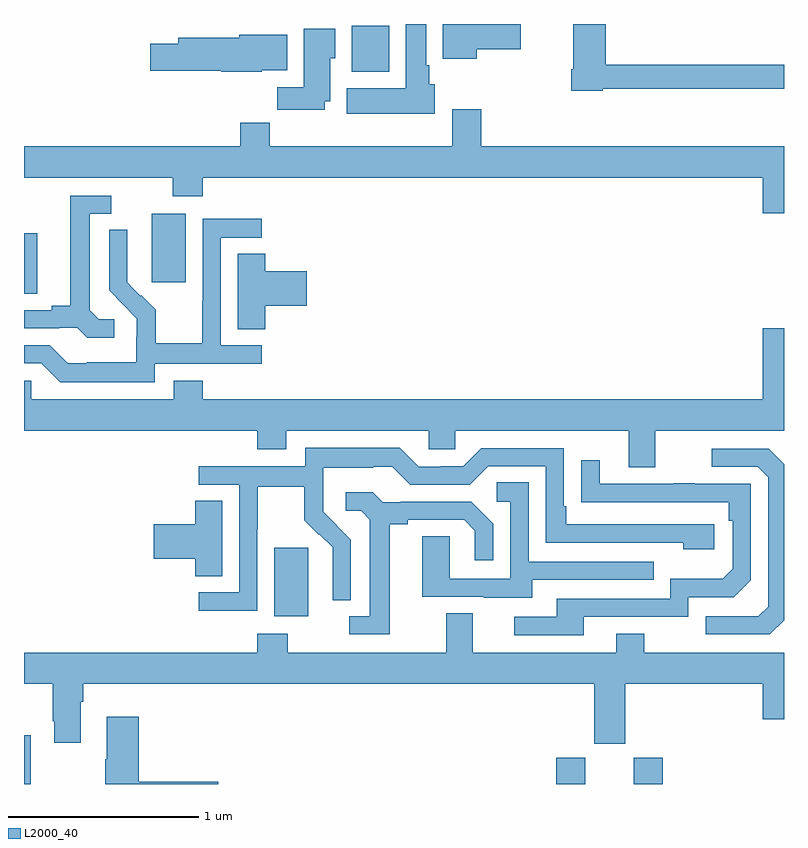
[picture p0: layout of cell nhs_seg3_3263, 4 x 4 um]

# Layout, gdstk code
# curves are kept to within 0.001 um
import gdstk
lib = gdstk.Library(unit=1e-6, precision=1e-09)
def R(c, l, rs):  # rectangles x0, y0, x1, y1
    for r in rs: c.add(gdstk.rectangle(r[:2], r[2:], *l))
def P(c, l, *ps):  # polygons
    for p in ps: c.add(gdstk.Polygon(p, *l))
L2000_40 = (2000, 40)

nhs_seg3_3263 = lib.new_cell('nhs_seg3_3263')
R(nhs_seg3_3263, L2000_40, [(281,688.4,281.035,688.657), (283.802,688.4,283.954,688.539), (284.21,688.4,284.363,688.539), (282.317,689.282,282.496,689.643), (281,690.979,281.071,691.299), (281.672,691.041,281.851,691.402), (282.725,692.15,282.922,692.392)])
P(nhs_seg3_3263, L2000_40, [(283.384,692.267),(283.615,692.267),(283.615,692.4),(283.205,692.4),(283.205,692.216),(283.384,692.216)],
  [(283.162,692.082),(283.132,692.082),(283.132,692.182),(283.117,692.182),(283.117,692.4),(283.01,692.4),(283.01,692.062),(282.698,692.062),(282.698,691.928),(283.162,691.928)],
  [(284.046,692.058),(285,692.058),(285,692.186),(284.063,692.186),(284.063,692.4),(283.892,692.4),(283.892,692.161),(283.88,692.161),(283.88,692.05),(284.046,692.05)],
  [(282.583,691.994),(282.613,691.994),(282.613,692.22),(282.637,692.22),(282.637,692.374),(282.473,692.374),(282.473,692.068),(282.334,692.068),(282.334,691.95),(282.583,691.95)],
  [(282.252,692.156),(282.385,692.156),(282.385,692.344),(282.134,692.344),(282.134,692.327),(281.813,692.327),(281.813,692.297),(281.664,692.297),(281.664,692.155),(282.038,692.155),(282.038,692.15),(282.252,692.15)],
  [(285,691.756),(283.406,691.756),(283.406,691.951),(283.253,691.951),(283.253,691.756),(282.293,691.756),(282.293,691.88),(282.137,691.88),(282.137,691.756),(281,691.756),(281,691.592),(281.782,691.592),(281.782,691.493),(281.942,691.493),(281.942,691.592),(284.888,691.592),(284.888,691.404),(285,691.404)],
  [(281.476,690.846),(281.394,690.846),(281.347,690.893),(281.347,691.401),(281.458,691.401),(281.458,691.497),(281.243,691.497),(281.243,690.917),(281.147,690.917),(281.147,690.894),(281,690.894),(281,690.798),(281.186,690.798),(281.186,690.801),(281.28,690.801),(281.332,690.749),(281.476,690.749)],
  [(281.688,690.612),(282.25,690.612),(282.25,690.708),(282.036,690.708),(282.036,691.275),(282.25,691.275),(282.25,691.374),(281.94,691.374),(281.94,690.944),(281.938,690.944),(281.938,690.721),(281.693,690.721),(281.693,690.895),(281.616,690.972),(281.613,690.969),(281.543,691.04),(281.544,691.316),(281.448,691.316),(281.448,690.998),(281.594,690.85),(281.594,690.753),(281.592,690.753),(281.592,690.619),(281.329,690.619),(281.329,690.615),(281.229,690.615),(281.136,690.708),(281,690.708),(281,690.615),(281.091,690.615),(281.191,690.515),(281.688,690.515)],
  [(282.269,690.917),(282.487,690.917),(282.487,691.1),(282.269,691.1),(282.269,691.19),(282.125,691.19),(282.125,690.793),(282.269,690.793)],
  [(282.227,690.161),(282.379,690.161),(282.379,690.26),(283.131,690.26),(283.131,690.162),(283.269,690.162),(283.269,690.26),(284.183,690.26),(284.183,690.066),(284.323,690.066),(284.323,690.26),(285,690.26),(285,690.799),(284.888,690.799),(284.888,690.424),(281.942,690.424),(281.942,690.523),(281.789,690.523),(281.789,690.424),(281.037,690.424),(281.037,690.522),(281,690.522),(281,690.26),(282.227,690.26)],
  [(282.228,689.74),(282.231,689.74),(282.231,689.964),(282.475,689.964),(282.475,689.789),(282.552,689.712),(282.555,689.715),(282.626,689.645),(282.626,689.522),(282.624,689.522),(282.624,689.368),(282.72,689.368),(282.72,689.686),(282.574,689.834),(282.574,689.931),(282.576,689.931),(282.576,690.065),(282.839,690.065),(282.839,690.069),(282.939,690.069),(283.032,689.976),(283.347,689.976),(283.443,690.072),(283.746,690.072),(283.746,689.67),(284.471,689.67),(284.471,689.636),(284.632,689.636),(284.632,689.766),(283.855,689.766),(283.855,689.863),(283.842,689.863),(283.842,690.168),(283.407,690.168),(283.311,690.072),(283.193,690.072),(283.193,690.069),(283.077,690.069),(282.977,690.169),(282.48,690.169),(282.48,690.072),(281.919,690.072),(281.919,689.976),(282.132,689.976),(282.132,689.409),(281.919,689.409),(281.919,689.311),(282.228,689.311)],
  [(285,689.262),(285,690.084),(284.919,690.165),(284.619,690.165),(284.619,690.069),(284.862,690.069),(284.916,690.015),(284.916,689.334),(284.865,689.283),(284.589,689.283),(284.589,689.187),(284.925,689.187)],
  [(283.945,689.28),(284.496,689.28),(284.496,689.382),(284.736,689.382),(284.826,689.472),(284.826,689.979),(284.531,689.979),(284.531,689.984),(284.419,689.984),(284.419,689.979),(284.029,689.979),(284.029,690.103),(283.933,690.103),(283.933,689.884),(284.71,689.883),(284.71,689.786),(284.73,689.786),(284.73,689.532),(284.677,689.479),(284.4,689.479),(284.4,689.376),(283.805,689.376),(283.805,689.28),(283.581,689.28),(283.581,689.184),(283.945,689.184)],
  [(283.675,689.475),(284.315,689.475),(284.315,689.571),(283.656,689.571),(283.656,689.987),(283.488,689.987),(283.488,689.886),(283.56,689.886),(283.56,689.481),(283.242,689.481),(283.242,689.705),(283.097,689.705),(283.097,689.385),(283.421,689.385),(283.421,689.381),(283.675,689.381)],
  [(282.925,689.768),(283.021,689.768),(283.021,689.79),(283.316,689.79),(283.373,689.733),(283.373,689.577),(283.47,689.577),(283.47,689.77),(283.354,689.886),(282.982,689.886),(282.982,689.883),(282.888,689.883),(282.836,689.935),(282.693,689.935),(282.693,689.838),(282.774,689.838),(282.821,689.791),(282.821,689.283),(282.711,689.283),(282.711,689.187),(282.925,689.187)],
  [(282.043,689.891),(281.9,689.891),(281.9,689.768),(281.682,689.768),(281.682,689.585),(281.9,689.585),(281.9,689.494),(282.043,689.494)],
  [(284.164,688.928),(284.888,688.928),(284.888,688.74),(285,688.74),(285,689.092),(284.265,689.092),(284.265,689.191),(284.117,689.191),(284.117,689.092),(283.363,689.092),(283.363,689.3),(283.223,689.3),(283.223,689.092),(282.387,689.092),(282.387,689.191),(282.227,689.191),(282.227,689.092),(281,689.092),(281,688.928),(281.152,688.928),(281.152,688.729),(281.159,688.729),(281.159,688.617),(281.299,688.617),(281.299,688.832),(281.312,688.832),(281.312,688.928),(284,688.928),(284,688.611),(284.164,688.611)],
  [(282.022,688.412),(281.603,688.412),(281.603,688.753),(281.435,688.753),(281.435,688.529),(281.428,688.529),(281.428,688.4),(282.022,688.4)])

lib.write_gds('nhs_seg3_3263.gds')
